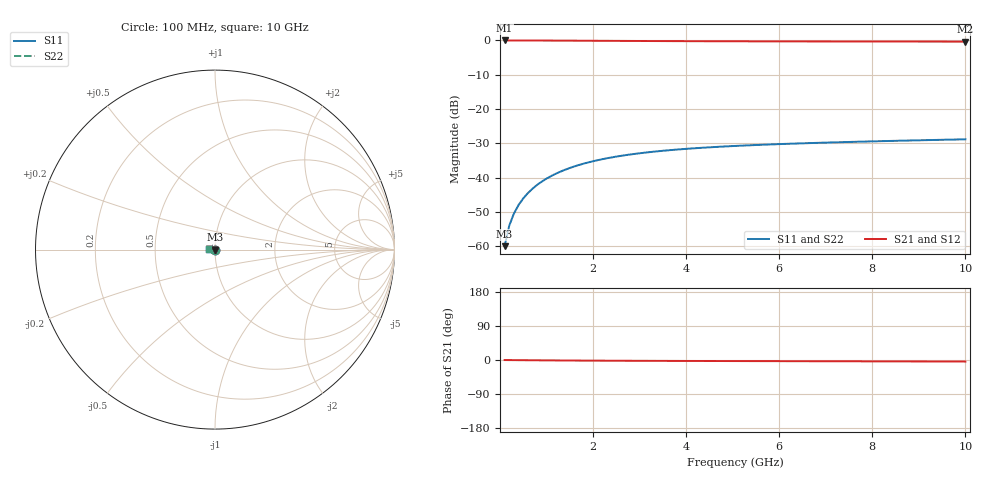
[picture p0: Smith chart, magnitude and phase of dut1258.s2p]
! Touchstone file exported from HFSS 2024.1.0
!  File:  C:/UserFiles/LocalFiles/RDL_TSV_Batchsim/temp_TSV1_1258_1780253163.aedt
!  Generated:  02:52:00 AM Jun  1, 2026
!  Design:  TSV1
!  Project:  temp_TSV1_1258_1780253163
!  Setup:  Setup1
!  Solution:  Sweep
! Variables:
!  dtsv = 11.53um
!  hbump = 3um
!  htsv = 59.95um
!  lrdl = 252.1521522um
!  p = 40
!  p1 = 56.89um
!  t = 500um
!  trdl = 3um
!  wrdl = 24.89489489um
# GHz S MA R 50.000000
! Terminal data exported
! Port[1] = TSV22_T1
! Port[2] = TSV22_T2
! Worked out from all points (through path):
!   100 points, 100 MHz to 10 GHz, reference 50 ohm
!   highest |S21| = 0.00 dB at 100 MHz (marker M1); lowest = -0.3 dB at 10 GHz (marker M2)
!   lowest |S11| = -59.9 dB at 100 MHz (marker M3), VSWR 1.00, Z = 50 - j0.101 ohm
!   |S11| at or under -10 dB: start of sweep to end of sweep
!   |S22| runs from -59.9 to -28.8 dB; largest |S21 - S12| = 5.5e-15
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0.1  0.00101 -86.9  0.9999 -0.1  0.9999 -0.1  0.00101 -86.9
! Gamma 0 0 0 0
! Port Impedance 50 0 50 0
0.2  0.002014 -91.3  0.9998 -0.2  0.9998 -0.2  0.002014 -91.3
0.3  0.003018 -94.1  0.9996 -0.3  0.9996 -0.3  0.003018 -94.1
0.4  0.004017 -96.5  0.9993 -0.4  0.9993 -0.4  0.004017 -96.5
0.5  0.005007 -98.7  0.999 -0.5  0.999 -0.5  0.005007 -98.7
0.6  0.005984 -100.9  0.9986 -0.6  0.9986 -0.6  0.005984 -100.9
0.7  0.006947 -103.0  0.9981 -0.7  0.9981 -0.7  0.006947 -103.0
0.8  0.007892 -105.1  0.9976 -0.8  0.9976 -0.8  0.007892 -105.1
0.9  0.008818 -107.1  0.9971 -0.9  0.9971 -0.9  0.008818 -107.1
1.1  0.0106 -111.0  0.9959 -1.1  0.9959 -1.1  0.0106 -111.0
1.4  0.01311 -116.5  0.9938 -1.3  0.9938 -1.3  0.01311 -116.5
1.6  0.01465 -120.0  0.9924 -1.4  0.9924 -1.4  0.01465 -120.0
1.8  0.01609 -123.3  0.9909 -1.6  0.9909 -1.6  0.01609 -123.3
2.1  0.01806 -128.0  0.9886 -1.7  0.9886 -1.7  0.01806 -128.0
2.5  0.02035 -133.8  0.9856 -2.0  0.9856 -2.0  0.02035 -133.8
2.9  0.02231 -139.1  0.9828 -2.1  0.9828 -2.1  0.02231 -139.1
3.4  0.02437 -145.0  0.9797 -2.3  0.9797 -2.3  0.02437 -145.0
4.2  0.02697 -153.1  0.9755 -2.6  0.9755 -2.6  0.02697 -153.1
5.1  0.02919 -160.8  0.9719 -2.8  0.9719 -2.8  0.02919 -160.8
6.7  0.03208 -171.8  0.9674 -3.2  0.9674 -3.2  0.03208 -171.8
8.4  0.03443 178.8  0.9643 -3.7  0.9643 -3.7  0.03442 178.8
10  0.03633 171.4  0.9624 -4.1  0.9624 -4.1  0.03633 171.4
